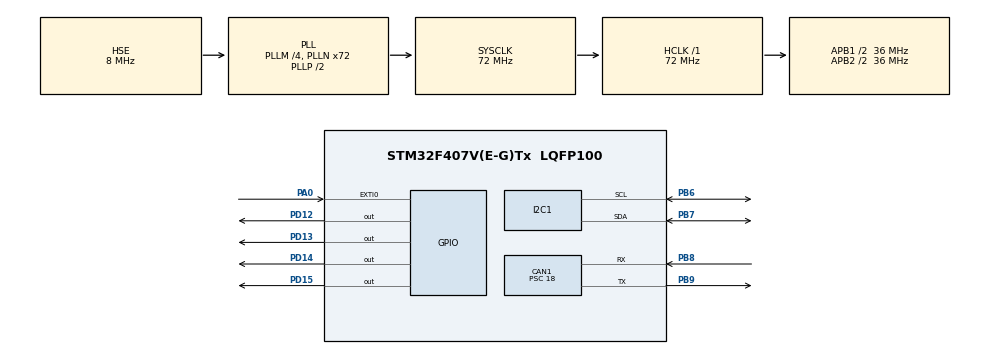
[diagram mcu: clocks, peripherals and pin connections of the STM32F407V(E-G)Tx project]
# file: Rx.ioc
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CAN1.BS1=CAN_BS1_2TQ
CAN1.BS2=CAN_BS2_1TQ
CAN1.CalculateBaudRate=500000
CAN1.CalculateTimeBit=2000
CAN1.CalculateTimeQuantum=500.0
CAN1.Prescaler=18
Mcu.Family=STM32F4
Mcu.Name=STM32F407V(E-G)Tx
Mcu.Package=LQFP100
NVIC.CAN1_RX0_IRQn=true\:0\:0\:false\:false\:true\:true\:true\:true
NVIC.EXTI0_IRQn=true\:0\:0\:false\:false\:true\:true\:true\:true
NVIC.PriorityGroup=NVIC_PRIORITYGROUP_0
PA0-WKUP.Signal=GPXTI0
PB6.Mode=I2C
PB6.Signal=I2C1_SCL
PB7.Mode=I2C
PB7.Signal=I2C1_SDA
PB8.Mode=CAN_Activate
PB8.Signal=CAN1_RX
PB9.Mode=CAN_Activate
PB9.Signal=CAN1_TX
PD12.Signal=GPIO_Output
PD13.Signal=GPIO_Output
PD14.Signal=GPIO_Output
PD15.Signal=GPIO_Output
PH0-OSC_IN.Mode=HSE-External-Oscillator
PH0-OSC_IN.Signal=RCC_OSC_IN
PH1-OSC_OUT.Mode=HSE-External-Oscillator
PH1-OSC_OUT.Signal=RCC_OSC_OUT
ProjectManager.HeapSize=0x200
ProjectManager.StackSize=0x400
ProjectManager.TargetToolchain=STM32CubeIDE
RCC.48MHZClocksFreq_Value=20571428.57142857
RCC.AHBFreq_Value=72000000
RCC.APB1CLKDivider=RCC_HCLK_DIV2
RCC.APB1Freq_Value=36000000
RCC.APB1TimFreq_Value=72000000
RCC.APB2CLKDivider=RCC_HCLK_DIV2
RCC.APB2Freq_Value=36000000
RCC.APB2TimFreq_Value=72000000
RCC.CortexFreq_Value=72000000
RCC.HCLKFreq_Value=72000000
RCC.HSE_VALUE=8000000
RCC.HSI_VALUE=16000000
RCC.LSE_VALUE=32768
RCC.PLLM=4
RCC.PLLN=72
RCC.PLLQ=7
RCC.PLLSourceVirtual=RCC_PLLSOURCE_HSE
RCC.SYSCLKFreq_VALUE=72000000
RCC.SYSCLKSource=RCC_SYSCLKSOURCE_PLLCLK
RCC.VCOOutputFreq_Value=144000000
board=STM32F407G-DISC1

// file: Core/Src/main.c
/* USER CODE BEGIN Header */
/**
  ******************************************************************************
  * @file           : main.c
  * @brief          : Main program body
  ******************************************************************************
  * @attention
  *
  * Copyright (c) 2023 STMicroelectronics.
  * All rights reserved.
  *
  * This software is licensed under terms that can be found in the LICENSE file
  * in the root directory of this software component.
  * If no LICENSE file comes with this software, it is provided AS-IS.
  *
  ******************************************************************************
  */
/* USER CODE END Header */
#include "main.h"

/* USER CODE BEGIN Includes */
#include<stdio.h>
#include"lcd16x2_i2c.h"
/* USER CODE END Includes */

CAN_HandleTypeDef hcan1;

I2C_HandleTypeDef hi2c1;

/* USER CODE BEGIN PV */
uint8_t flag=0;
/* USER CODE END PV */

void SystemClock_Config(void);
static void MX_GPIO_Init(void);
static void MX_CAN1_Init(void);
static void MX_I2C1_Init(void);

/* USER CODE BEGIN 0 */
CAN_RxHeaderTypeDef RxHeader;
uint16_t RxData[2];
uint32_t RxMailBox;

void HAL_CAN_RxFifo0MsgPendingCallback(CAN_HandleTypeDef *hcan){

	flag=1;
	HAL_GPIO_WritePin(GPIOD, GPIO_PIN_15, GPIO_PIN_SET); // blue
	HAL_CAN_GetRxMessage(&hcan1, CAN_RX_FIFO0, &RxHeader, RxData);
}
/* USER CODE END 0 */

int main(void)
{
  /* USER CODE BEGIN 1 */
	char msg[16];
  /* USER CODE END 1 */

  /* MCU Configuration--------------------------------------------------------*/

  /* Reset of all peripherals, Initializes the Flash interface and the Systick. */
  HAL_Init();

  /* Configure the system clock */
  SystemClock_Config();

  /* Initialize all configured peripherals */
  MX_GPIO_Init();
  MX_CAN1_Init();
  MX_I2C1_Init();
  /* USER CODE BEGIN 2 */
  if(lcd16x2_i2c_init(&hi2c1))
      {
    	  HAL_GPIO_WritePin(GPIOD, GPIO_PIN_13, GPIO_PIN_SET);
      }
  HAL_CAN_Start(&hcan1);
  HAL_CAN_ActivateNotification(&hcan1, CAN_IT_RX_FIFO0_MSG_PENDING);

  RxHeader.DLC = 4;
  RxHeader.RTR = CAN_RTR_DATA;
  RxHeader.IDE = CAN_ID_STD;
  RxHeader.ExtId = 0x00;
  RxHeader.StdId = 0x0AA;

  HAL_Delay(100);  HAL_Delay(100);

  HAL_Delay(100);
  lcd16x2_i2c_setCursor(0, 0);
  lcd16x2_i2c_printf("Welcome...!!!");
  /* USER CODE END 2 */

  /* Infinite loop */
  /* USER CODE BEGIN WHILE */
  while (1)
  {
	  		//if(RxData[0] == 'S'){
	  	  	  if(flag==1)
	  	  	  {
	  			HAL_GPIO_WritePin(GPIOD, GPIO_PIN_14, GPIO_PIN_SET); //
	  			/*lcd16x2_i2c_setCursor(0, 0);
	  			sprintf(msg, "Received");*/
	  			lcd16x2_i2c_setCursor(0, 0);
	  			sprintf(msg, "ADC=%d",RxData[0]);
	  			lcd16x2_i2c_printf(msg);
	  			lcd16x2_i2c_setCursor(1, 0);
	  			sprintf(msg, "Distance=%-3dcm",RxData[1]);
	  			lcd16x2_i2c_printf(msg);
	  			HAL_Delay(500);
	  			lcd16x2_i2c_clear();

	  			if(RxData[0]>3500)
	  			{
	  				lcd16x2_i2c_setCursor(0, 0);
	  				lcd16x2_i2c_printf("Day Mode");
	  			}

	  			else
	  			{
	  				lcd16x2_i2c_setCursor(0, 0);
	  				lcd16x2_i2c_printf("Night Mode");
	  			}

	  			if(RxData[1]<20)
	  			{
	  				lcd16x2_i2c_setCursor(1, 0);
	  				lcd16x2_i2c_printf("Object Detected");
	  			}

	  			else
	  			{
	  				lcd16x2_i2c_setCursor(1, 0);
	  				lcd16x2_i2c_printf("No Obj Detected");
	  			}
	  			HAL_GPIO_WritePin(GPIOD, GPIO_PIN_14, GPIO_PIN_RESET);
	  	  	  }
	  	  	  HAL_Delay(500);

    /* USER CODE END WHILE */

  }
}

void SystemClock_Config(void)
{
  RCC_OscInitTypeDef RCC_OscInitStruct = {0};
  RCC_ClkInitTypeDef RCC_ClkInitStruct = {0};

  /** Configure the main internal regulator output voltage
  */
  __HAL_RCC_PWR_CLK_ENABLE();
  __HAL_PWR_VOLTAGESCALING_CONFIG(PWR_REGULATOR_VOLTAGE_SCALE1);

  /** Initializes the RCC Oscillators according to the specified parameters
  * in the RCC_OscInitTypeDef structure.
  */
  RCC_OscInitStruct.OscillatorType = RCC_OSCILLATORTYPE_HSE;
  RCC_OscInitStruct.HSEState = RCC_HSE_ON;
  RCC_OscInitStruct.PLL.PLLState = RCC_PLL_ON;
  RCC_OscInitStruct.PLL.PLLSource = RCC_PLLSOURCE_HSE;
  RCC_OscInitStruct.PLL.PLLM = 4;
  RCC_OscInitStruct.PLL.PLLN = 72;
  RCC_OscInitStruct.PLL.PLLP = RCC_PLLP_DIV2;
  RCC_OscInitStruct.PLL.PLLQ = 7;
  if (HAL_RCC_OscConfig(&RCC_OscInitStruct) != HAL_OK)
  {
    Error_Handler();
  }

  /** Initializes the CPU, AHB and APB buses clocks
  */
  RCC_ClkInitStruct.ClockType = RCC_CLOCKTYPE_HCLK|RCC_CLOCKTYPE_SYSCLK
                              |RCC_CLOCKTYPE_PCLK1|RCC_CLOCKTYPE_PCLK2;
  RCC_ClkInitStruct.SYSCLKSource = RCC_SYSCLKSOURCE_PLLCLK;
  RCC_ClkInitStruct.AHBCLKDivider = RCC_SYSCLK_DIV1;
  RCC_ClkInitStruct.APB1CLKDivider = RCC_HCLK_DIV2;
  RCC_ClkInitStruct.APB2CLKDivider = RCC_HCLK_DIV2;

  if (HAL_RCC_ClockConfig(&RCC_ClkInitStruct, FLASH_LATENCY_2) != HAL_OK)
  {
    Error_Handler();
  }
}

static void MX_CAN1_Init(void)
{

  hcan1.Instance = CAN1;
  hcan1.Init.Prescaler = 18;
  hcan1.Init.Mode = CAN_MODE_NORMAL;
  hcan1.Init.SyncJumpWidth = CAN_SJW_1TQ;
  hcan1.Init.TimeSeg1 = CAN_BS1_2TQ;
  hcan1.Init.TimeSeg2 = CAN_BS2_1TQ;
  hcan1.Init.TimeTriggeredMode = DISABLE;
  hcan1.Init.AutoBusOff = DISABLE;
  hcan1.Init.AutoWakeUp = DISABLE;
  hcan1.Init.AutoRetransmission = DISABLE;
  hcan1.Init.ReceiveFifoLocked = DISABLE;
  hcan1.Init.TransmitFifoPriority = DISABLE;
  if (HAL_CAN_Init(&hcan1) != HAL_OK)
  {
    Error_Handler();
  }
  /* USER CODE BEGIN CAN1_Init 2 */
  CAN_FilterTypeDef canFilterConfig;
  canFilterConfig.FilterActivation=CAN_FILTER_ENABLE;
  canFilterConfig.SlaveStartFilterBank=14;
  canFilterConfig.FilterBank=2;
  canFilterConfig.FilterFIFOAssignment=CAN_RX_FIFO0;
  canFilterConfig.FilterScale=CAN_FILTERSCALE_32BIT;
  canFilterConfig.FilterMode=CAN_FILTERMODE_IDMASK;
  canFilterConfig.FilterMaskIdLow=0x0000;
  canFilterConfig.FilterMaskIdHigh=0xFF00;
  canFilterConfig.FilterIdLow=0x0000;
  canFilterConfig.FilterIdHigh=0x1500;
  HAL_CAN_ConfigFilter(&hcan1, &canFilterConfig);
  /* USER CODE END CAN1_Init 2 */

}

static void MX_I2C1_Init(void)
{

  hi2c1.Instance = I2C1;
  hi2c1.Init.ClockSpeed = 100000;
  hi2c1.Init.DutyCycle = I2C_DUTYCYCLE_2;
  hi2c1.Init.OwnAddress1 = 0;
  hi2c1.Init.AddressingMode = I2C_ADDRESSINGMODE_7BIT;
  hi2c1.Init.DualAddressMode = I2C_DUALADDRESS_DISABLE;
  hi2c1.Init.OwnAddress2 = 0;
  hi2c1.Init.GeneralCallMode = I2C_GENERALCALL_DISABLE;
  hi2c1.Init.NoStretchMode = I2C_NOSTRETCH_DISABLE;
  if (HAL_I2C_Init(&hi2c1) != HAL_OK)
  {
    Error_Handler();
  }

}

static void MX_GPIO_Init(void)
{
  GPIO_InitTypeDef GPIO_InitStruct = {0};

  /* GPIO Ports Clock Enable */
  __HAL_RCC_GPIOH_CLK_ENABLE();
  __HAL_RCC_GPIOA_CLK_ENABLE();
  __HAL_RCC_GPIOD_CLK_ENABLE();
  __HAL_RCC_GPIOB_CLK_ENABLE();

  /*Configure GPIO pin Output Level */
  HAL_GPIO_WritePin(GPIOD, GPIO_PIN_12|GPIO_PIN_13|GPIO_PIN_14|GPIO_PIN_15, GPIO_PIN_RESET);

  /*Configure GPIO pin : PA0 */
  GPIO_InitStruct.Pin = GPIO_PIN_0;
  GPIO_InitStruct.Mode = GPIO_MODE_IT_RISING;
  GPIO_InitStruct.Pull = GPIO_NOPULL;
  HAL_GPIO_Init(GPIOA, &GPIO_InitStruct);

  /*Configure GPIO pins : PD12 PD13 PD14 PD15 */
  GPIO_InitStruct.Pin = GPIO_PIN_12|GPIO_PIN_13|GPIO_PIN_14|GPIO_PIN_15;
  GPIO_InitStruct.Mode = GPIO_MODE_OUTPUT_PP;
  GPIO_InitStruct.Pull = GPIO_NOPULL;
  GPIO_InitStruct.Speed = GPIO_SPEED_FREQ_LOW;
  HAL_GPIO_Init(GPIOD, &GPIO_InitStruct);

  /* EXTI interrupt init*/
  HAL_NVIC_SetPriority(EXTI0_IRQn, 0, 0);
  HAL_NVIC_EnableIRQ(EXTI0_IRQn);

}

void Error_Handler(void)
{
  __disable_irq();
  while (1)
  {
  }
}
